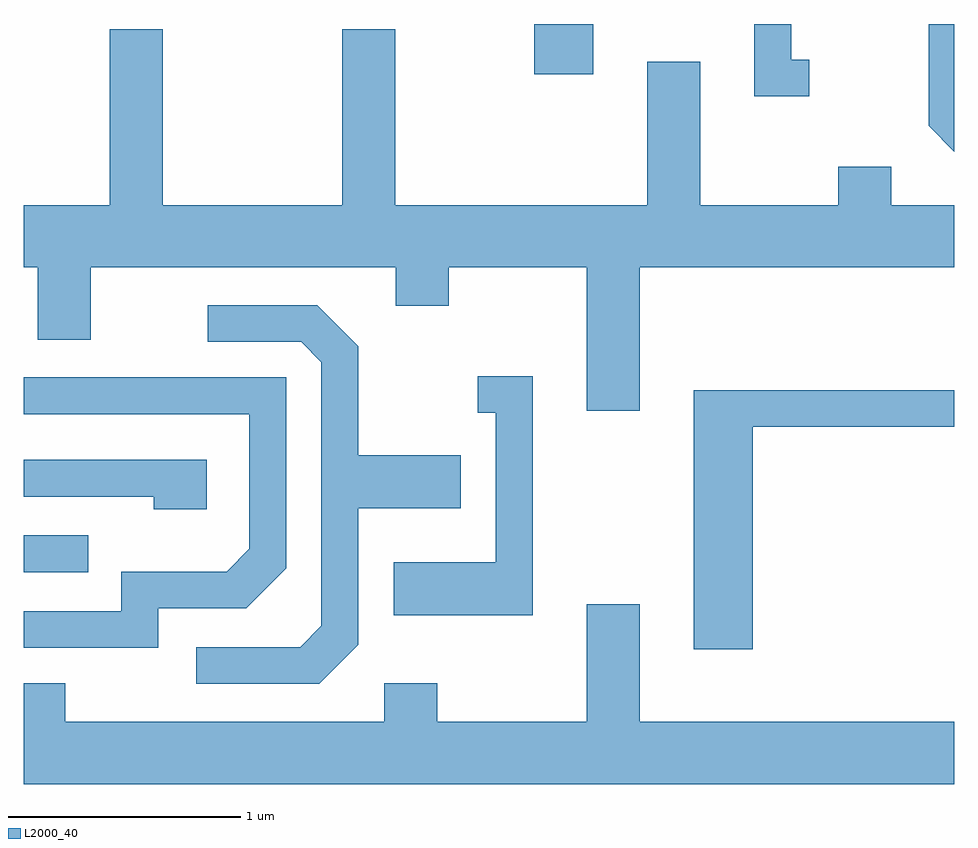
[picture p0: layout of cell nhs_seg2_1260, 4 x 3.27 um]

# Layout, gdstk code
import gdstk
lib = gdstk.Library(unit=1e-6, precision=1e-09)
def R(c, l, rs):  # rectangles x0, y0, x1, y1
    for r in rs: c.add(gdstk.rectangle(r[:2], r[2:], *l))
def P(c, l, *ps):  # polygons
    for p in ps: c.add(gdstk.Polygon(p, *l))
L2000_40 = (2000, 40)

nhs_seg2_1260 = lib.new_cell('nhs_seg2_1260')
R(nhs_seg2_1260, L2000_40, [(221.611,1051.446,221.888,1051.604), (223.806,1053.586,224.059,1053.802)])
P(nhs_seg2_1260, L2000_40, [(225.611,1053.802),(225.501,1053.802),(225.501,1053.364),(225.611,1053.254)],
  [(224.988,1053.649),(224.909,1053.649),(224.909,1053.802),(224.751,1053.802),(224.751,1053.491),(224.988,1053.491)],
  [(224.259,1052.756),(225.611,1052.756),(225.611,1053.024),(225.339,1053.024),(225.339,1053.189),(225.111,1053.189),(225.111,1053.024),(224.519,1053.024),(224.519,1053.639),(224.291,1053.639),(224.291,1053.024),(223.209,1053.024),(223.209,1053.779),(222.981,1053.779),(222.981,1053.024),(222.209,1053.024),(222.209,1053.779),(221.981,1053.779),(221.981,1053.024),(221.611,1053.024),(221.611,1052.756),(221.671,1052.756),(221.671,1052.446),(221.899,1052.446),(221.899,1052.756),(223.211,1052.756),(223.211,1052.591),(223.439,1052.591),(223.439,1052.756),(224.031,1052.756),(224.031,1052.141),(224.259,1052.141)],
  [(223.049,1051.134),(223.049,1051.721),(223.489,1051.721),(223.489,1051.949),(223.049,1051.949),(223.049,1052.417),(222.872,1052.594),(222.403,1052.594),(222.403,1052.436),(222.804,1052.436),(222.891,1052.349),(222.891,1051.217),(222.799,1051.124),(222.353,1051.124),(222.353,1050.966),(222.882,1050.966)],
  [(223.799,1052.289),(223.563,1052.289),(223.563,1052.131),(223.641,1052.131),(223.641,1051.489),(223.201,1051.489),(223.201,1051.261),(223.799,1051.261)],
  [(222.189,1051.291),(222.567,1051.291),(222.739,1051.464),(222.739,1052.284),(221.611,1052.284),(221.611,1052.126),(222.581,1052.126),(222.581,1051.547),(222.484,1051.449),(222.031,1051.449),(222.031,1051.279),(221.611,1051.279),(221.611,1051.121),(222.189,1051.121)],
  [(224.744,1052.071),(225.611,1052.071),(225.611,1052.229),(224.491,1052.229),(224.491,1051.116),(224.744,1051.116)],
  [(222.399,1051.929),(221.611,1051.929),(221.611,1051.771),(222.171,1051.771),(222.171,1051.716),(222.399,1051.716)],
  [(225.611,1050.804),(224.259,1050.804),(224.259,1051.309),(224.031,1051.309),(224.031,1050.804),(223.389,1050.804),(223.389,1050.969),(223.161,1050.969),(223.161,1050.804),(221.789,1050.804),(221.789,1050.969),(221.611,1050.969),(221.611,1050.536),(225.611,1050.536)])

lib.write_gds('nhs_seg2_1260.gds')
